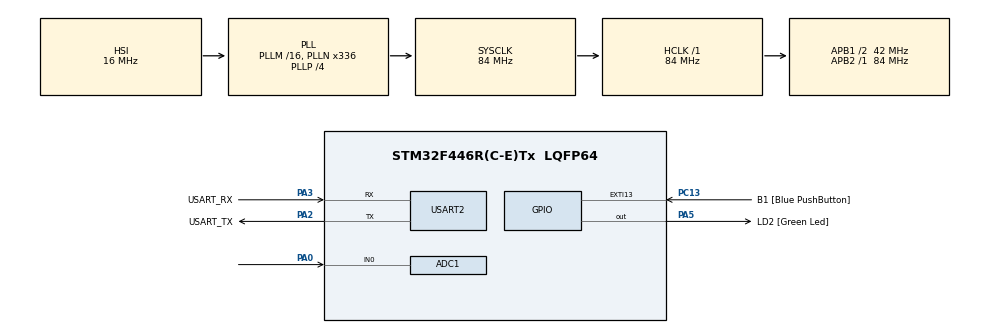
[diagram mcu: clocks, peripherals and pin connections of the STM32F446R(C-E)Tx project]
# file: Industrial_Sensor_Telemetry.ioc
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ADC1.Channel-0\#ChannelRegularConversion=ADC_CHANNEL_0
ADC1.NbrOfConversionFlag=1
ADC1.Rank-0\#ChannelRegularConversion=1
ADC1.SamplingTime-0\#ChannelRegularConversion=ADC_SAMPLETIME_3CYCLES
ADC1.master=1
Mcu.Family=STM32F4
Mcu.Name=STM32F446R(C-E)Tx
Mcu.Package=LQFP64
NVIC.ADC_IRQn=true\:0\:0\:false\:false\:true\:true\:true\:true
NVIC.PriorityGroup=NVIC_PRIORITYGROUP_0
PA0-WKUP.Signal=ADCx_IN0
PA13.GPIO_Label=TMS
PA13.Mode=Serial_Wire
PA13.Signal=SYS_JTMS-SWDIO
PA14.GPIO_Label=TCK
PA14.Mode=Serial_Wire
PA14.Signal=SYS_JTCK-SWCLK
PA2.GPIO_Label=USART_TX
PA2.Mode=Asynchronous
PA2.Signal=USART2_TX
PA3.GPIO_Label=USART_RX
PA3.Mode=Asynchronous
PA3.Signal=USART2_RX
PA5.GPIO_Label=LD2 [Green Led]
PA5.Signal=GPIO_Output
PB3.GPIO_Label=SWO
PB3.Signal=SYS_JTDO-SWO
PC13.GPIO_Label=B1 [Blue PushButton]
PC13.GPIO_ModeDefaultEXTI=GPIO_MODE_IT_FALLING
PC13.Signal=GPXTI13
PC14-OSC32_IN.Mode=LSE-External-Oscillator
PC14-OSC32_IN.Signal=RCC_OSC32_IN
PC15-OSC32_OUT.Mode=LSE-External-Oscillator
PC15-OSC32_OUT.Signal=RCC_OSC32_OUT
PH0-OSC_IN.Mode=HSE-External-Oscillator
PH0-OSC_IN.Signal=RCC_OSC_IN
PH1-OSC_OUT.Mode=HSE-External-Oscillator
PH1-OSC_OUT.Signal=RCC_OSC_OUT
ProjectManager.HeapSize=0x200
ProjectManager.StackSize=0x400
ProjectManager.TargetToolchain=STM32CubeIDE
RCC.48MHZClocksFreq_Value=84000000
RCC.AHBFreq_Value=84000000
RCC.APB1CLKDivider=RCC_HCLK_DIV2
RCC.APB1Freq_Value=42000000
RCC.APB1TimFreq_Value=84000000
RCC.APB2Freq_Value=84000000
RCC.APB2TimFreq_Value=84000000
RCC.CortexFreq_Value=84000000
RCC.FLatency-AdvancedSettings=FLASH_LATENCY_2
RCC.HCLKFreq_Value=84000000
RCC.HSE_VALUE=8000000
RCC.HSI_VALUE=16000000
RCC.PLLN=336
RCC.PLLP=RCC_PLLP_DIV4
RCC.SYSCLKFreq_VALUE=84000000
RCC.SYSCLKSource=RCC_SYSCLKSOURCE_PLLCLK
RCC.USBFreq_Value=168000000
RCC.VCOOutputFreq_Value=336000000
SH.ADCx_IN0.0=ADC1_IN0,IN0
USART2.VirtualMode=VM_ASYNC
board=NUCLEO-F446RE

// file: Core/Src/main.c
/* USER CODE BEGIN Header */
/**
  ******************************************************************************
  * @file           : main.c
  * @brief          : Main program body
  ******************************************************************************
  * @attention
  *
  * Copyright (c) 2026 STMicroelectronics.
  * All rights reserved.
  *
  * This software is licensed under terms that can be found in the LICENSE file
  * in the root directory of this software component.
  * If no LICENSE file comes with this software, it is provided AS-IS.
  *
  ******************************************************************************
  */
/* USER CODE END Header */
#include "main.h"

/* USER CODE BEGIN Includes */
#include <stdio.h>
#include <string.h>

/* USER CODE END Includes */

ADC_HandleTypeDef hadc1;

UART_HandleTypeDef huart2;

/* USER CODE BEGIN PV */
volatile uint16_t adc_raw_value = 0;         // 12-bit ham ADC degeri (0 - 4095)
volatile uint8_t adc_data_ready = 0;         // Kesmeden gelen "Veri Hazir" bayragi

float sensor_voltage = 0.0f;                 // Hesaplanan gercek voltaj (0.00V - 3.30V)
uint32_t last_telemetry_time = 0;            // HAL_GetTick() icin zaman tutucu
char uart_tx_buffer[100];                   // Bilgisayara gonderilecek metin paketi

/* USER CODE END PV */

void SystemClock_Config(void);
static void MX_GPIO_Init(void);
static void MX_USART2_UART_Init(void);
static void MX_ADC1_Init(void);

int main(void)
{

  /* MCU Configuration--------------------------------------------------------*/

  /* Reset of all peripherals, Initializes the Flash interface and the Systick. */
  HAL_Init();

  /* Configure the system clock */
  SystemClock_Config();

  /* Initialize all configured peripherals */
  MX_GPIO_Init();
  MX_USART2_UART_Init();
  MX_ADC1_Init();
  /* USER CODE BEGIN 2 */
  HAL_ADC_Start_IT(&hadc1);    // ADC'yi Interrupt (Kesme) modunda baslat

  /* USER CODE END 2 */

  /* Infinite loop */
  /* USER CODE BEGIN WHILE */
  while (1)
  {
	  // 1. Gecikmesiz Zamanlayici: Her 500 ms'de bir yeni okuma baslat
	  if ((HAL_GetTick() - last_telemetry_time) >= 500)
	  {
		  last_telemetry_time = HAL_GetTick();
		  HAL_ADC_Start_IT(&hadc1);    // Donanima "Okumayi yap ve bitince kesme uret" emri ver
	  }
	 // 2. Kesmeden "Veri Hazir" bayragi geldiyse hesapla ve UART'tan gonder
	  if (adc_data_ready == 1)
	  {
		  adc_data_ready = 0;   //bayragi sifirla

		  // 12-bit (4095) degeri 3.3V referansina gore gercek voltaja cevir
		  sensor_voltage = ((float)adc_raw_value / 4095.0f) * 3.3f;

		  // Endustriyel telemetri formatinda metni hazirla
		  sprintf(uart_tx_buffer, "[TELEMETRY] Time: %lu ms | Raw ADC: %u | Voltage: %.2f V\r\n", HAL_GetTick(), adc_raw_value, sensor_voltage);

		  // Veriyi ST-Link uzerinden bilgisayara gonder
		  HAL_UART_Transmit(&huart2, (uint8_t*)uart_tx_buffer, strlen(uart_tx_buffer), 100);

		  // Kart uzerindeki Yesil LED'i (PA5) veri gonderildigini gostermek icin yak/sondur
		  HAL_GPIO_TogglePin(LD2_GPIO_Port, LD2_Pin);
	  }

    /* USER CODE END WHILE */

  }
}

void SystemClock_Config(void)
{
  RCC_OscInitTypeDef RCC_OscInitStruct = {0};
  RCC_ClkInitTypeDef RCC_ClkInitStruct = {0};

  /** Configure the main internal regulator output voltage
  */
  __HAL_RCC_PWR_CLK_ENABLE();
  __HAL_PWR_VOLTAGESCALING_CONFIG(PWR_REGULATOR_VOLTAGE_SCALE3);

  /** Initializes the RCC Oscillators according to the specified parameters
  * in the RCC_OscInitTypeDef structure.
  */
  RCC_OscInitStruct.OscillatorType = RCC_OSCILLATORTYPE_HSI;
  RCC_OscInitStruct.HSIState = RCC_HSI_ON;
  RCC_OscInitStruct.HSICalibrationValue = RCC_HSICALIBRATION_DEFAULT;
  RCC_OscInitStruct.PLL.PLLState = RCC_PLL_ON;
  RCC_OscInitStruct.PLL.PLLSource = RCC_PLLSOURCE_HSI;
  RCC_OscInitStruct.PLL.PLLM = 16;
  RCC_OscInitStruct.PLL.PLLN = 336;
  RCC_OscInitStruct.PLL.PLLP = RCC_PLLP_DIV4;
  RCC_OscInitStruct.PLL.PLLQ = 2;
  RCC_OscInitStruct.PLL.PLLR = 2;
  if (HAL_RCC_OscConfig(&RCC_OscInitStruct) != HAL_OK)
  {
    Error_Handler();
  }

  /** Initializes the CPU, AHB and APB buses clocks
  */
  RCC_ClkInitStruct.ClockType = RCC_CLOCKTYPE_HCLK|RCC_CLOCKTYPE_SYSCLK
                              |RCC_CLOCKTYPE_PCLK1|RCC_CLOCKTYPE_PCLK2;
  RCC_ClkInitStruct.SYSCLKSource = RCC_SYSCLKSOURCE_PLLCLK;
  RCC_ClkInitStruct.AHBCLKDivider = RCC_SYSCLK_DIV1;
  RCC_ClkInitStruct.APB1CLKDivider = RCC_HCLK_DIV2;
  RCC_ClkInitStruct.APB2CLKDivider = RCC_HCLK_DIV1;

  if (HAL_RCC_ClockConfig(&RCC_ClkInitStruct, FLASH_LATENCY_2) != HAL_OK)
  {
    Error_Handler();
  }
}

static void MX_ADC1_Init(void)
{

  ADC_ChannelConfTypeDef sConfig = {0};

  /** Configure the global features of the ADC (Clock, Resolution, Data Alignment and number of conversion)
  */
  hadc1.Instance = ADC1;
  hadc1.Init.ClockPrescaler = ADC_CLOCK_SYNC_PCLK_DIV4;
  hadc1.Init.Resolution = ADC_RESOLUTION_12B;
  hadc1.Init.ScanConvMode = DISABLE;
  hadc1.Init.ContinuousConvMode = DISABLE;
  hadc1.Init.DiscontinuousConvMode = DISABLE;
  hadc1.Init.ExternalTrigConvEdge = ADC_EXTERNALTRIGCONVEDGE_NONE;
  hadc1.Init.ExternalTrigConv = ADC_SOFTWARE_START;
  hadc1.Init.DataAlign = ADC_DATAALIGN_RIGHT;
  hadc1.Init.NbrOfConversion = 1;
  hadc1.Init.DMAContinuousRequests = DISABLE;
  hadc1.Init.EOCSelection = ADC_EOC_SINGLE_CONV;
  if (HAL_ADC_Init(&hadc1) != HAL_OK)
  {
    Error_Handler();
  }

  /** Configure for the selected ADC regular channel its corresponding rank in the sequencer and its sample time.
  */
  sConfig.Channel = ADC_CHANNEL_0;
  sConfig.Rank = 1;
  sConfig.SamplingTime = ADC_SAMPLETIME_3CYCLES;
  if (HAL_ADC_ConfigChannel(&hadc1, &sConfig) != HAL_OK)
  {
    Error_Handler();
  }

}

static void MX_USART2_UART_Init(void)
{

  huart2.Instance = USART2;
  huart2.Init.BaudRate = 115200;
  huart2.Init.WordLength = UART_WORDLENGTH_8B;
  huart2.Init.StopBits = UART_STOPBITS_1;
  huart2.Init.Parity = UART_PARITY_NONE;
  huart2.Init.Mode = UART_MODE_TX_RX;
  huart2.Init.HwFlowCtl = UART_HWCONTROL_NONE;
  huart2.Init.OverSampling = UART_OVERSAMPLING_16;
  if (HAL_UART_Init(&huart2) != HAL_OK)
  {
    Error_Handler();
  }

}

static void MX_GPIO_Init(void)
{
  GPIO_InitTypeDef GPIO_InitStruct = {0};

  /* GPIO Ports Clock Enable */
  __HAL_RCC_GPIOC_CLK_ENABLE();
  __HAL_RCC_GPIOH_CLK_ENABLE();
  __HAL_RCC_GPIOA_CLK_ENABLE();
  __HAL_RCC_GPIOB_CLK_ENABLE();

  /*Configure GPIO pin Output Level */
  HAL_GPIO_WritePin(LD2_GPIO_Port, LD2_Pin, GPIO_PIN_RESET);

  /*Configure GPIO pin : B1_Pin */
  GPIO_InitStruct.Pin = B1_Pin;
  GPIO_InitStruct.Mode = GPIO_MODE_IT_FALLING;
  GPIO_InitStruct.Pull = GPIO_NOPULL;
  HAL_GPIO_Init(B1_GPIO_Port, &GPIO_InitStruct);

  /*Configure GPIO pin : LD2_Pin */
  GPIO_InitStruct.Pin = LD2_Pin;
  GPIO_InitStruct.Mode = GPIO_MODE_OUTPUT_PP;
  GPIO_InitStruct.Pull = GPIO_NOPULL;
  GPIO_InitStruct.Speed = GPIO_SPEED_FREQ_LOW;
  HAL_GPIO_Init(LD2_GPIO_Port, &GPIO_InitStruct);

}

/* USER CODE BEGIN 4 */
void HAL_ADC_ConvCpltCallback(ADC_HandleTypeDef* hadc)
{
	if(hadc->Instance == ADC1)
	{
		adc_raw_value = HAL_ADC_GetValue(&hadc1);   // Ham degeri oku
		adc_data_ready = 1;                         // Ana donguye haber ver
	}

}

/* USER CODE END 4 */

void Error_Handler(void)
{
  __disable_irq();
  while (1)
  {
  }
}
